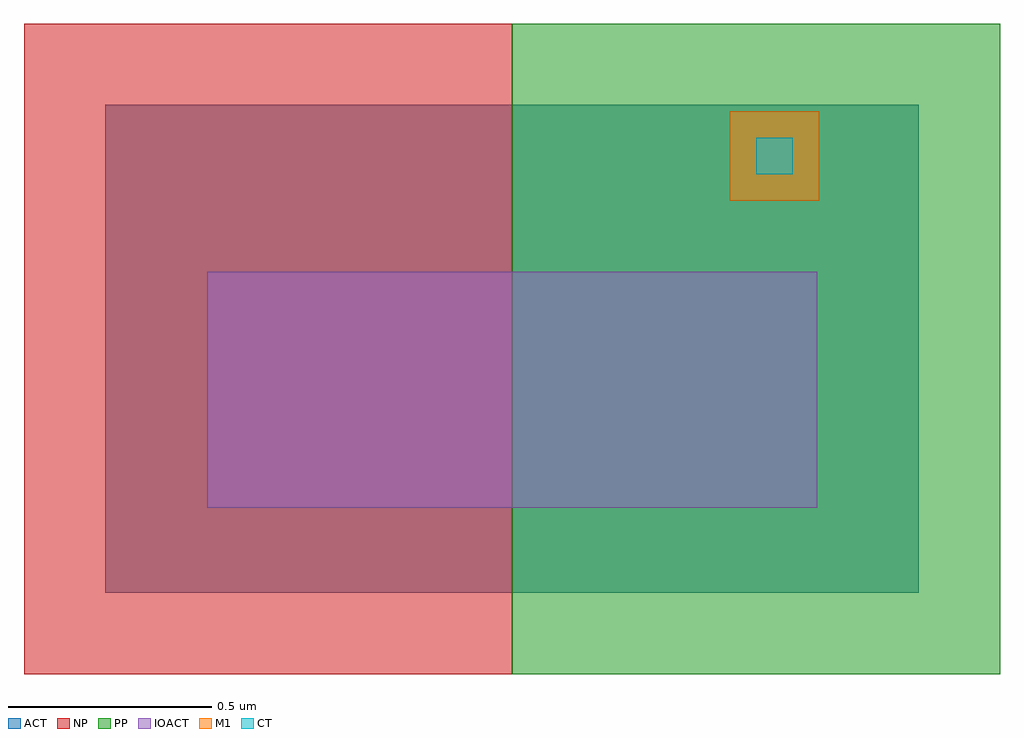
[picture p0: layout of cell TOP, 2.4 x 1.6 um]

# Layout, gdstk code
import gdstk
lib = gdstk.Library(unit=1e-6, precision=1e-09)
def R(c, l, rs):  # rectangles x0, y0, x1, y1
    for r in rs: c.add(gdstk.rectangle(r[:2], r[2:], *l))
ACT = (2, 1)
NP = (52, 1)
PP = (53, 1)
IOACT = (71, 1)
CT = (72, 1)
M1 = (81, 1)

top = lib.new_cell('TOP')
R(top, ACT, [(0,0,2,1.2)])
R(top, NP, [(-0.2,-0.2,1,1.4)])
R(top, PP, [(1,-0.2,2.2,1.4)])
R(top, IOACT, [(0.25,0.21,1.75,0.79)])
R(top, CT, [(1.6,1.03,1.69,1.12)])
R(top, M1, [(1.535,0.965,1.755,1.185)])

lib.write_gds('TOP.gds')
